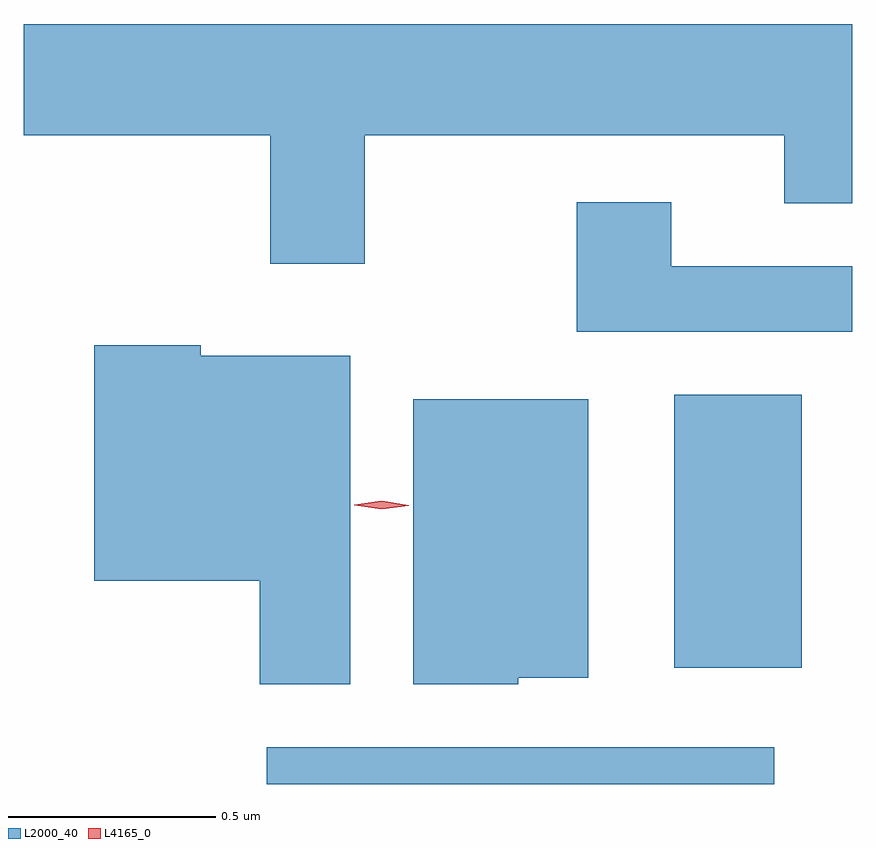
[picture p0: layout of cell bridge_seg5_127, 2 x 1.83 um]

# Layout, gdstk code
import gdstk
lib = gdstk.Library(unit=1e-6, precision=1e-09)
def R(c, l, rs):  # rectangles x0, y0, x1, y1
    for r in rs: c.add(gdstk.rectangle(r[:2], r[2:], *l))
def P(c, l, *ps):  # polygons
    for p in ps: c.add(gdstk.Polygon(p, *l))
L2000_40 = (2000, 40)
L4165_0 = (4165, 0)

bridge_seg5_127 = lib.new_cell('bridge_seg5_127')
R(bridge_seg5_127, L2000_40, [(1031.533,1526.27,1032.757,1526.359), (1032.516,1526.551,1032.824,1527.209)])
P(bridge_seg5_127, L2000_40, [(1031.769,1527.836),(1032.781,1527.836),(1032.781,1527.671),(1032.946,1527.671),(1032.946,1528.104),(1030.946,1528.104),(1030.946,1527.836),(1031.541,1527.836),(1031.541,1527.526),(1031.769,1527.526)],
  [(1032.946,1527.519),(1032.509,1527.519),(1032.509,1527.674),(1032.281,1527.674),(1032.281,1527.361),(1032.946,1527.361)],
  [(1031.734,1527.304),(1031.374,1527.304),(1031.374,1527.329),(1031.116,1527.329),(1031.116,1526.761),(1031.516,1526.761),(1031.516,1526.511),(1031.734,1526.511)],
  [(1032.14,1526.526),(1032.309,1526.526),(1032.309,1527.199),(1031.886,1527.199),(1031.886,1526.511),(1032.14,1526.511)])
P(bridge_seg5_127, L4165_0, [(1031.81,1526.933),(1031.744,1526.943),(1031.744,1526.944),(1031.744,1526.944),(1031.81,1526.953),(1031.876,1526.943),(1031.876,1526.942),(1031.876,1526.942)])

lib.write_gds('bridge_seg5_127.gds')
